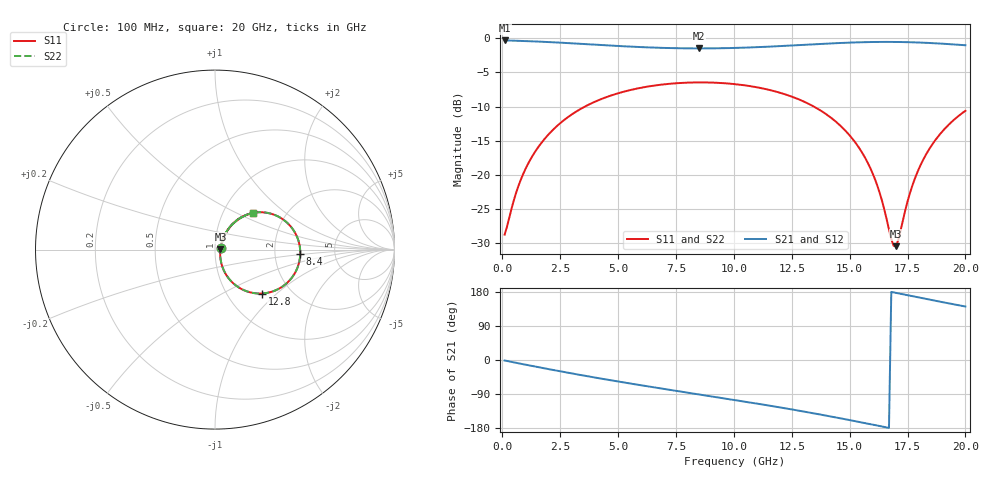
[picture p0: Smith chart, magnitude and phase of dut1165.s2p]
! Touchstone file exported from HFSS 2026.1.0
!  File:  C:/ffzhzh/LocalFiles/Ansys_Project_Files/temp_train_TSV_RDL_1165_1783313404_5512.aedt
!  Generated:  01:01:09 PM Jul  6, 2026
!  Design:  TSV_RDL
!  Project:  temp_train_TSV_RDL_1165_1783313404_5512
! Variables:
!  h_bsmrdl = 2.08um
!  h_ox = 20um
!  h_rdl = 5um
!  h_sub = 85.65um
!  h_tmrdl = 5.1um
!  h_tsv = 85.65um
!  h_via = 3um
!  l_bsmrdl = 758.41um
!  l_sub = 3323.83um
!  l_tmrdl = 138.6um
!  m_sub = 200um
!  pitch = 31.98um
!  r_tsv = 8.53um
!  s_tmrdl = 10um
!  w_bsmrdl = 11.86um
!  w_sub = 500um
!  w_tmrdl = 19.54um
!  x_tsv_center1 = 148.37um
!  x_tsv_center2 = 918.64um
!  x_tsv_center3 = 1076.78um
!  x_tsv_center4 = 1847.05um
!  x_tsv_center5 = 2005.19um
!  x_tsv_center6 = 2775.46um
# GHz S MA R 50.000000
! Terminal data exported
! Port[1] = TM_RDL1_1_T1
! Port[2] = TM_RDL5_1_T1
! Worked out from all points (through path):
!   200 points, 100 MHz to 20 GHz, reference 50 ohm
!   highest |S21| = -0.31 dB at 100 MHz (marker M1); lowest = -1.5 dB at 8.5 GHz (marker M2)
!   group delay of S21, straight-line fit = 29.4 ps
!   lowest |S11| = -30.5 dB at 17 GHz (marker M3), VSWR 1.06, Z = 53.1 + j0.178 ohm
!   |S11| at or under -10 dB: start of sweep to 3.568 GHz; 13.46 GHz to end of sweep
!   |S22| runs from -30.4 to -6.5 dB; largest |S21 - S12| = 1.7e-14
!   S11 on the Smith chart (normalised r, x): 100 MHz: 1.07, +0.02; 8.4 GHz: 2.80, -0.16; 12.8 GHz: 1.44, -0.81; 20 GHz: 1.38, +0.62
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0.1  0.03646 16.4  0.9652 -1.3  0.9652 -1.3  0.03646 16.4
! Gamma 0 0 0 0
! Port Impedance 50 0 50 0
0.7  0.08314 54.0  0.9592 -8.7  0.9592 -8.7  0.08313 54.0
1.3  0.1372 57.0  0.951 -15.9  0.951 -15.9  0.1372 57.0
2.3  0.2229 51.8  0.9341 -27.5  0.9341 -27.5  0.2229 51.8
3.5  0.3118 41.7  0.9096 -40.9  0.9096 -40.9  0.3118 41.7
5.1  0.4004 27.0  0.8774 -57.8  0.8774 -57.8  0.4003 27.0
6.8  0.4564 11.6  0.8528 -74.6  0.8528 -74.6  0.4564 11.6
8.4  0.4755 -2.7  0.8439 -89.9  0.8439 -89.9  0.4755 -2.7
8.5  0.4757 -3.6  0.8439 -90.8  0.8439 -90.8  0.4757 -3.5
10.1  0.4608 -17.9  0.8513 -106.1  0.8513 -106.1  0.4608 -17.9
12.8  0.3576 -43.2  0.8923 -133.6  0.8923 -133.6  0.3576 -43.1
13.4  0.32 -48.9  0.9038 -140.2  0.9038 -140.2  0.3201 -48.9
14.6  0.2292 -60.0  0.925 -153.8  0.925 -153.8  0.2292 -60.0
15.5  0.1492 -66.3  0.9366 -164.5  0.9366 -164.5  0.1492 -66.2
16.2  0.08296 -65.1  0.9414 -173.0  0.9414 -173.0  0.08301 -65.0
16.7  0.03975 -43.7  0.942 -179.2  0.942 -179.2  0.03986 -43.5
16.9  0.03022 -15.4  0.9416 178.4  0.9416 178.4  0.03037 -15.3
17  0.03001 3.2  0.9412 177.1  0.9412 177.1  0.03015 3.2
17.6  0.07299 53.3  0.9369 169.7  0.9369 169.7  0.07304 53.3
18.2  0.1312 57.2  0.9291 162.4  0.9291 162.4  0.1312 57.1
19  0.2076 52.7  0.9141 152.8  0.9141 152.8  0.2076 52.7
20  0.2945 43.9  0.8901 141.1  0.8901 141.1  0.2945 43.9
